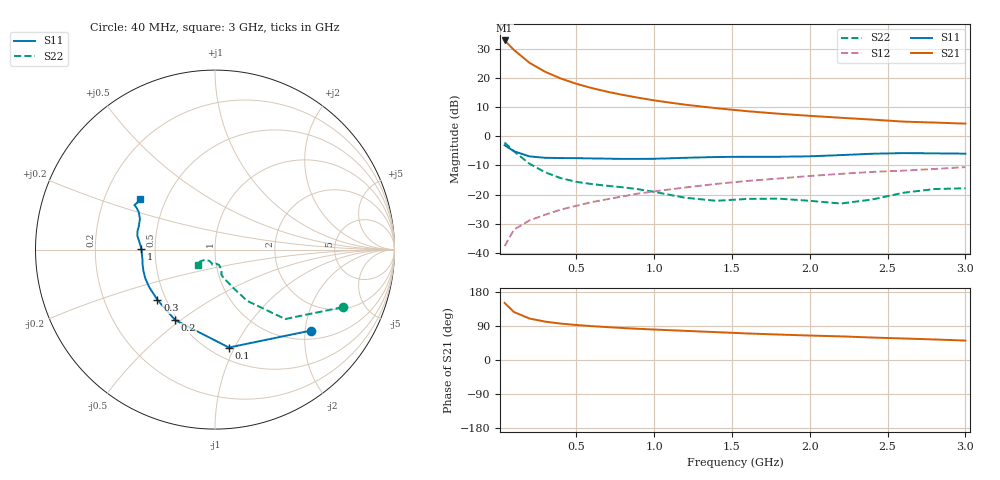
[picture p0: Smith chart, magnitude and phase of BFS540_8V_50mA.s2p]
! Filename:  BFS540L.S2P  Version:  4.0
! Philips part #: BFS540  Date: Jun 1994
! Bias condition: Vce=8V, Ic=50mA
#  MHz  S  MA  R  50
! Freq  S11  S21  S12  S22  !GUM [dB]
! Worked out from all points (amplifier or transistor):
!   21 points, 40 MHz to 3 GHz, reference 50 ohm
!   highest |S21| = 32.8 dB at 40 MHz (marker M1)
!   |S21| within 3 dB of that: start of sweep to 95.34 MHz
!   unconditionally stable (mu >= 1): 560.8 MHz to end of sweep
!   at 300 MHz: K = 0.86, MSG = 24.5 dB, |S12| = -26.9 dB
!   at 1 GHz: K = 1.08, MAG = 13.9 dB, |S12| = -18.9 dB
!   at 3 GHz: K = 1.02, MAG = 6.5 dB, |S12| = -10.6 dB
!   S11 on the Smith chart (normalised r, x): 40 MHz: 1.22, -2.15; 100 MHz: 0.61, -0.95; 200 MHz: 0.48, -0.48; 300 MHz: 0.45, -0.31; 1 GHz: 0.42, +0.00; 3 GHz: 0.36, +0.27
40  0.7 -40.1  43.87 150.6  0.013 71.1  0.78 -24.3
100  0.551 -81.9  30.16 126.6  0.025 60.3  0.55 -44.7
200  0.451 -119.5  18.14 109.4  0.036 58.0  0.337 -57.9
300  0.426 -138.8  12.75 101.3  0.045 60.8  0.241 -64.1
400  0.422 -150.6  9.777 96.1  0.055 63.6  0.191 -69.1
500  0.42 -157.8  7.942 92.4  0.064 65.3  0.165 -72.9
600  0.416 -163.4  6.693 89.4  0.074 66.8  0.151 -75.0
700  0.412 -168.1  5.789 86.8  0.083 68.1  0.141 -75.5
800  0.408 -172.5  5.103 84.4  0.093 69.0  0.133 -74.3
900  0.408 -176.6  4.563 82.3  0.104 69.5  0.123 -73.1
1000  0.41 179.4  4.118 80.4  0.113 70.0  0.111 -72.4
1200  0.426 173.4  3.468 76.9  0.132 70.8  0.088 -75.7
1400  0.44 169.7  3.024 73.5  0.152 71.1  0.078 -87.2
1600  0.444 166.6  2.682 70.0  0.171 70.3  0.084 -97.8
1800  0.444 162.8  2.43 67.2  0.188 70.3  0.085 -100.3
2000  0.452 157.7  2.235 64.5  0.208 69.9  0.078 -102.8
2200  0.474 153.7  2.07 62.4  0.226 69.9  0.07 -116.6
2400  0.5 151.6  1.927 59.3  0.244 69.3  0.082 -135.5
2600  0.513 151.1  1.781 56.8  0.257 68.1  0.107 -141.7
2800  0.508 149.7  1.714 54.2  0.274 67.8  0.124 -138.6
3000  0.502 146.0  1.644 51.3  0.295 66.8  0.128 -137.2
